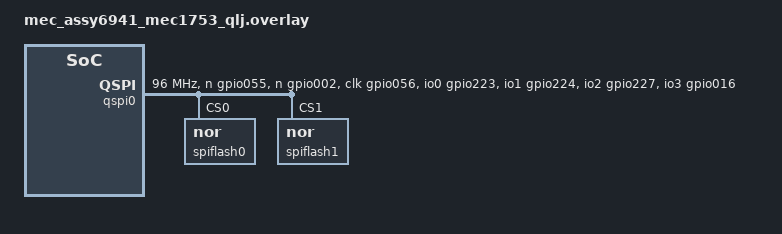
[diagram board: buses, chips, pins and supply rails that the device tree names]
/*
 * Copyright (c) 2026 Microchip Technology Inc.
 *
 * SPDX-License-Identifier: Apache-2.0
 */

/*
 * !!! WARNING !!!
 * QSPI0 Controller has two HW CE's and three sets of mutually
 * exclusive (clock, data) pin sets. Only one set of (clock, data)
 * should be enabled at one time.
 *
 * J18 2x10 for SPI donlge Assembly 6971
 * GPIO055/SHD_nCS0 -> J18.4  1SPI_nCS0
 * GPIO002/SHD_nCS1 -> J18.10 1SPI_nCS1
 * GPIO056/SHD_CLK  -> J18.2  1SPI_CLK
 * GPIO223/SHD_IO0  -> J18.6  1SPI_MOSI
 * GPIO224/SHD_IO1  -> J18.7  1SPI_MISO
 * GPIO227/SHD_IO2  -> J18.8  1SPI_nWP
 * GPIO016/SHD_IO3  -> J18.9  1SPI_nHOLD
 *
 * GPIO124/PVT_nCS -> J18.11 2SPI_nCS0
 * GPIO125/PVT_CLK -> J18.1  2SPI_CLK
 * GPIO121/PVT_IO0 -> J18.12 2SPI_MOSI
 * GPIO122/PVT_IO1 -> J18.13 2SPI_MISO
 * GPIO123/PVT_IO2 -> J18.14 2SPI_nWP
 * GPIO126/PVT_IO3 -> J18.16 2SPI_nHOLD
 *
 * EVB jumpers
 * -----------
 *
 * JP18 3x7 SHD_SPI pins
 * ---------------------
 *  2-3  select SHD_IO0
 *  5-6  select SHD_IO1
 *  8-9  select SHD_IO2
 * 11-12 select SHD_IO3
 * 14-15 select SHD_nCS0
 * 17-18 select SHD_CLK
 * 20-12 select SHD_nCS1
 *
 * JP16 3x6 PVT_SPI pins
 * --------------------
 *  2-3  select PVT_CLK
 *  5-6  select PVT_nCS
 *  8-9  select PVT_IO3
 * 11-12 select PVT_IO2
 * 14-15 select PVT_IO1
 * 17-18 select PVT_IO0
 */

/* CONFIG_MSPI_DMA selects CONFIG_DMA, so the central DMA controller is
 * enabled here even though the QMSPI MSPI driver uses the QMSPI
 * controller's internal local-DMA channels, not the central DMA.
 */
&dmac {
	status = "okay";
};

&qspi0 {
	compatible = "microchip,xec-qmspi-mspi-controller";
	status = "okay";

	pinctrl-0 = <&qspi_shd_cs0_n_gpio055 &qspi_shd_cs1_n_gpio002
		     &qspi_shd_clk_gpio056
		     &qspi_shd_io0_gpio223 &qspi_shd_io1_gpio224
		     &qspi_shd_io2_gpio227 &qspi_shd_io3_gpio016>;
	pinctrl-1 = <&qspi_shd_io3_gpio016_lp &qspi_shd_io2_gpio227_lp
		     &qspi_shd_io1_gpio224_lp &qspi_shd_io0_gpio223_lp
		     &qspi_shd_clk_gpio056_lp &qspi_shd_cs0_n_gpio055_fp>;
	pinctrl-names = "default", "sleep";
	clock-frequency = <DT_FREQ_M(96)>; /* Maximum frequency the controller can support */
	op-mode = "MSPI_OP_MODE_CONTROLLER";
	duplex = "MSPI_HALF_DUPLEX";
	software-multiperipheral; /* REQUIRED */
	num-hw-ce = <2>; /* Shared SPI supports two HW chip enables */

	/* W25Q128JV 3.3V flash JEDEC-ID = 0xef, 0x40, 0x18
	 * supports:
	 *   1-1-1 Page program 0x02
	 *   1-1-4 Page program 0x32
	 *   1-1-1 Read 0x03 <= 20 MHz, no dummy clocks
	 *   1-1-1 Fast Read  0x0B plus 8 dummy clocks
	 *   1-1-2 Fast Read Dual Output 0x3B plus 8 dummy clocks
	 *   1-1-4 Fast Read Quad Output 0x6B plus 8 dummy clocks
	 *   1-2-2 Fast Read Dual 0xBB plus mode byte
	 *   1-4-4 Fast Read Quad 0xEB, plus mode byte
	 *
	 * W25Q128FW 1.8V flash JEDEC-ID = 0xef, 0x60, 0x18
	 * Same opcodes as above
	 *
	 * Requires mspi-endian = "MSPI_BIG_ENDIAN";
	 * because QSPI operates most-significant-bit-first and the MSPI flash driver
	 * defaults to MSPI_LITTLE_ENDIAN if mspi-endian property is not present!
	 */

	spiflash0: qspi-nor-flash@0 {
		compatible = "jedec,nor";
		reg = <0>;

		mspi-hardware-ce-num = <0>;
		mspi-max-frequency = <DT_FREQ_M(4)>;
		mspi-io-mode = "MSPI_IO_MODE_QUAD_1_1_4";
		mspi-data-rate = "MSPI_DATA_RATE_SINGLE";
		mspi-endian = "MSPI_BIG_ENDIAN";
		read-command = <0x6b>;
		write-command = <0x32>;
		command-length = "INSTR_1_BYTE";
		address-length = "ADDR_3_BYTE";
		tx-dummy = <0>;
		rx-dummy = <8>;
		size = <DT_SIZE_M(128)>;
		jedec-id = [ef 40 18];
		sfdp-bfp = [00];
		status = "okay";
	};

	spiflash1: qspi-nor-flash@1 {
		compatible = "jedec,nor";
		reg = <1>;

		mspi-hardware-ce-num = <1>;
		mspi-max-frequency = <DT_FREQ_M(4)>;
		mspi-io-mode = "MSPI_IO_MODE_QUAD_1_1_4";
		mspi-data-rate = "MSPI_DATA_RATE_SINGLE";
		mspi-endian = "MSPI_BIG_ENDIAN";
		read-command = <0x6b>;
		write-command = <0x32>;
		command-length = "INSTR_1_BYTE";
		address-length = "ADDR_3_BYTE";
		tx-dummy = <0>;
		rx-dummy = <8>;
		size = <DT_SIZE_M(128)>;
		jedec-id = [ef 40 18];
		sfdp-bfp = [00];
		status = "okay";
	};
};
